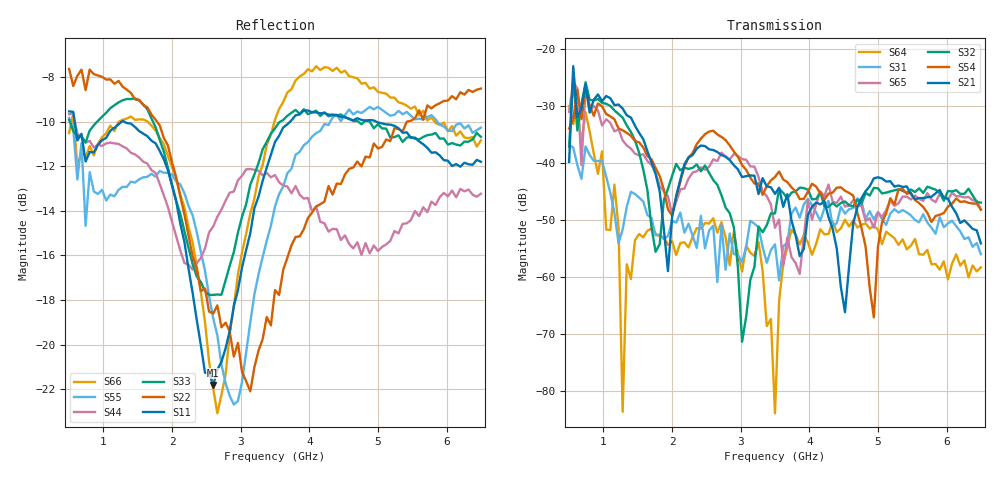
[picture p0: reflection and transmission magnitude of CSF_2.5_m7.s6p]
!Keysight Technologies,M9804A,MY58100912,A.14.10.03
!Date: Thursday, April 27, 2023 10:28:33
!Correction: S11(C  6-Port  )
!S12(C  6-Port  )
!S13(C  6-Port  )
!S14(C  6-Port  )
!S15(C  6-Port  )
!S16(C  6-Port  )
!S21(C  6-Port  )
!S22(C  6-Port  )
!S23(C  6-Port  )
!S24(C  6-Port  )
!S25(C  6-Port  )
!S26(C  6-Port  )
!S31(C  6-Port  )
!S32(C  6-Port  )
!S33(C  6-Port  )
!S34(C  6-Port  )
!S35(C  6-Port  )
!S36(C  6-Port  )
!S41(C  6-Port  )
!S42(C  6-Port  )
!S43(C  6-Port  )
!S44(C  6-Port  )
!S45(C  6-Port  )
!S46(C  6-Port  )
!S51(C  6-Port  )
!S52(C  6-Port  )
!S53(C  6-Port  )
!S54(C  6-Port  )
!S55(C  6-Port  )
!S56(C  6-Port  )
!S61(C  6-Port  )
!S62(C  6-Port  )
!S63(C  6-Port  )
!S64(C  6-Port  )
!S65(C  6-Port  )
!S66(C  6-Port  )
!S6P File: Measurement: :
# Hz S  RI  R 50
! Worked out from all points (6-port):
!   101 points, 500 MHz to 6.5 GHz, reference 50 ohm
!   strongest paths, dB at 500 MHz, 2 GHz, 3.5 GHz, 5 GHz, 6.5 GHz:
!     S21: -39.8, -49.6, -45.4, -42.5, -54.1
!     S54: -34.0, -49.3, -42.5, -54.8, -48.2
!     S32: -37.1, -42.3, -48.9, -44.5, -47.0
!     S65: -31.0, -49.0, -51.4, -48.6, -48.2
!     S31: -36.8, -50.2, -54.3, -48.6, -56.0
!     S64: -30.0, -53.7, -84.0, -51.7, -58.3
!   lowest |S11| = -21.8 dB at 2.6 GHz (marker M1), VSWR 1.18, Z = 42.7 + j1.93 ohm
!   |S11| at or under -10 dB: 580.5 MHz to 1.267 GHz (686.7 MHz wide, 74.3 % of centre); 1.301 GHz to 3.72 GHz (2.419 GHz wide, 96.4 % of centre); 4.975 GHz to end of sweep
